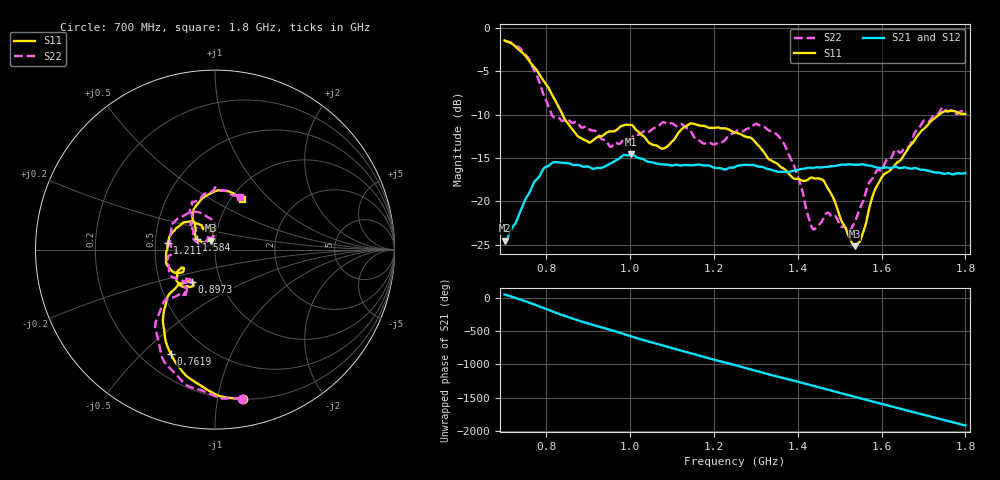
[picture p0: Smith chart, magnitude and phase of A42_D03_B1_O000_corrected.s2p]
! Created with skrf 1.9.0 (http://scikit-rf.org).
# Hz S RI R 50.0
!freq ReS11 ImS11 ReS21 ImS21 ReS12 ImS12 ReS22 ImS22
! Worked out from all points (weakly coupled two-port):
!   1601 points, 700 MHz to 1.8 GHz, reference 50 ohm
!   highest |S21| = -14.58 dB at 1.002 GHz (marker M1); lowest = -24.5 dB at 701.4 MHz (marker M2)
!   lowest |S11| = -25.2 dB at 1.535 GHz (marker M3), VSWR 1.12, Z = 47.5 + j4.8 ohm
!   |S11| at or under -10 dB: 838.2 MHz to 1.737 GHz (898.8 MHz wide, 69.8 % of centre)
!   |S22| runs from -23.5 to -1.5 dB; largest |S21 - S12| = 0.0035
!   S11 on the Smith chart (normalised r, x): 700 MHz: 0.20, -1.19; 761.9 MHz: 0.32, -0.61; 897.3 MHz: 0.73, -0.28; 1.211 GHz: 0.58, +0.05; 1.584 GHz: 0.81, +0.09; 1.8 GHz: 1.13, +0.70
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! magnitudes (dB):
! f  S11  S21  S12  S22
! 700 MHz  -1.4  -24.5  -24.3  -1.5
! 701.4 MHz  -1.5  -24.5  -24.1  -1.5
! 761.9 MHz  -4.0  -18.7  -18.7  -3.9
! 814.8 MHz  -7.8  -15.5  -15.6  -10.2
! 883.6 MHz  -12.7  -15.9  -15.8  -11.5
! 897.3 MHz  -13.1  -16.0  -16.0  -11.5
! 953 MHz  -11.9  -15.6  -15.6  -13.7
! 1.002 GHz  -11.2  -14.6  -14.7  -12.7
! 1.067 GHz  -13.7  -15.7  -15.6  -11.3
! 1.143 GHz  -11.0  -15.8  -15.8  -11.8
! 1.211 GHz  -11.5  -16.1  -16.1  -13.2
! 1.25 GHz  -12.1  -16.0  -16.0  -12.0
! 1.357 GHz  -15.9  -16.6  -16.5  -12.6
! 1.394 GHz  -17.4  -16.4  -16.4  -16.3
! 1.434 GHz  -17.2  -16.1  -16.1  -23.0
! 1.464 GHz  -17.8  -16.0  -16.0  -21.6
! 1.535 GHz  -25.2  -15.8  -15.8  -22.5
! 1.553 GHz  -23.9  -15.7  -15.8  -20.2
! 1.584 GHz  -18.6  -16.0  -16.0  -16.8
! 1.617 GHz  -16.5  -16.1  -16.1  -15.1
! 1.74 GHz  -9.9  -16.7  -16.7  -9.5
! 1.8 GHz  -9.9  -16.7  -16.7  -9.8
